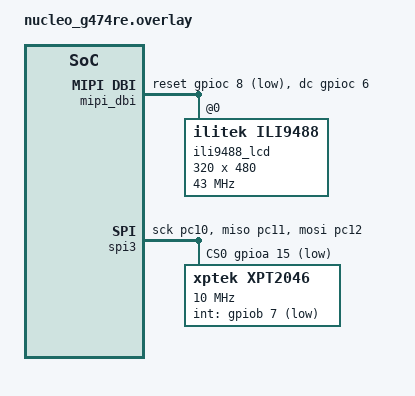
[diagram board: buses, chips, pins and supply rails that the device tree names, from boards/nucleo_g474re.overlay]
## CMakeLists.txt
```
cmake_minimum_required(VERSION 3.20.0)

# The HMI module is not listed in the west manifest (it is attached to the
# workspace as the modules/hmi symlink), so it has to be named explicitly.
# This path resolves to the HMI module root both on the host (zccli/app)
# and in the image (/workdir/apps/HMI/zccli/app), which is why it is
# relative rather than hard-coded.
set(ZEPHYR_EXTRA_MODULES ${CMAKE_CURRENT_SOURCE_DIR}/../..)

find_package(Zephyr REQUIRED HINTS $ENV{ZEPHYR_BASE})
project(zccli_app LANGUAGES C)

# Everything under src/ is compiled. src/zc_core.c is the frozen runtime;
# zccli copies your .c files into src/user/ before building.
#
# CONFIGURE_DEPENDS makes CMake re-run its glob on every build, so adding or
# removing a file does not need a hand-written source list or a -p always.
file(GLOB ZC_SOURCES CONFIGURE_DEPENDS
     ${CMAKE_CURRENT_SOURCE_DIR}/src/*.c
     ${CMAKE_CURRENT_SOURCE_DIR}/src/user/*.c)
target_sources(app PRIVATE ${ZC_SOURCES})

target_include_directories(app PRIVATE ${CMAKE_CURRENT_SOURCE_DIR}/include)
```

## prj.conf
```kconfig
# App-side settings the HMI library needs
CONFIG_MAIN_STACK_SIZE=8192

CONFIG_GPIO=y
CONFIG_SPI=y

# SPI1 LCD bus moves ~14 KB per flush; DMA frees the flush thread from
# byte-pumping so main can render while the transfer runs. DMA_STM32_V2
# and DMAMUX_STM32 enable themselves from the DT nodes in the overlay.
CONFIG_DMA=y
CONFIG_SPI_STM32_DMA=y

CONFIG_LOG=y

# Resistive touch (XPT2046 on SPI3, 'zephyr,touch' chosen) -> LVGL pointer
# Upstream xptek,xpt2046 driver (CONFIG_INPUT_XPT2046).
CONFIG_INPUT=y
CONFIG_INPUT_XPT2046=y
# The input module logs a "Timeout discarded" DBG line on EVERY syswq report,
# and with CONFIG_INPUT_LOG_LEVEL_DBG the resulting flood overflows the
# deferred log queue at 115200 baud (seen as "--- N messages dropped ---").
# Keep WRN so the "Event dropped, queue full" canary stays visible.
CONFIG_INPUT_LOG_LEVEL_WRN=y
# Input pipeline must never be starved, or the 16-slot event msgq fills and
# every touch is dropped before reaching LVGL ("Event dropped, queue full,
# not blocking in syswq"). Run the input thread at cooperative top priority
# (preempts the flush thread) and give it headroom for bursts/drags.
CONFIG_INPUT_THREAD_PRIORITY_OVERRIDE=y
CONFIG_INPUT_THREAD_PRIORITY=-1
CONFIG_INPUT_THREAD_STACK_SIZE=2048
CONFIG_INPUT_QUEUE_MAX_MSGS=64
CONFIG_LV_Z_POINTER_INPUT=y
CONFIG_LV_Z_POINTER_FROM_CHOSEN_TOUCH=y

# Display driver stack (ILI9488 over 4-wire MIPI DBI/SPI)
CONFIG_DISPLAY=y
CONFIG_DISPLAY_LOG_LEVEL_ERR=y

# LVGL, rendering natively in the panel's 18-bit RGB666 mode.
# The HMI module (CONFIG_HMI) selects the widgets and fonts it needs;
# the display-specific settings stay here.
CONFIG_LVGL=y
CONFIG_LV_COLOR_DEPTH_24=y
# VDB size in % of the 320x480 portrait framebuffer. Kept small so the
# (persistent) rendering buffer fits next to the widget set in the LVGL
# memory pool: 3% of 320*480 = 4608 px = 13824 bytes @ RGB888.
CONFIG_LV_Z_VDB_SIZE=3
# Double the draw buffer and flush in a dedicated thread so the next strip
# can be rendered while the previous one is still being pushed over SPI.
# Flush thread priority MUST stay below the input/sysworkq threads (-1), or
# a long synchronous flush starves XPT2046 sampling (the old touch freeze).
CONFIG_LV_Z_DOUBLE_VDB=y
CONFIG_LV_Z_FLUSH_THREAD=y
CONFIG_LV_Z_FLUSH_THREAD_PRIORITY=4
CONFIG_LV_Z_FLUSH_THREAD_STACK_SIZE=1024
# LVGL pool holds the object set + the rendering buffer for the app's
# lifetime (lv_malloc in lvgl.c).
CONFIG_LV_Z_MEM_POOL_SIZE=40000
CONFIG_LV_USE_LOG=y
CONFIG_LV_LOG_LEVEL_ERROR=y

# HMI library
CONFIG_HMI=y

# Flash is at 100%: trim LVGL down to just the widgets the HMI demo uses
# (ARC/ARCLABEL/BAR/BUTTON/BUTTONMATRIX/CHART/IMAGE/LABEL/LINE/SLIDER/
# TABVIEW + FLEX layout). LTO is unavailable here: GEN_ISR_TABLES forces
# CONFIG_LTO back to n on this board.
CONFIG_LV_USE_TABLE=n
CONFIG_LV_USE_TEXTAREA=n
CONFIG_LV_USE_ROLLER=n
CONFIG_LV_USE_SPINBOX=n
CONFIG_LV_USE_SPINNER=n
CONFIG_LV_USE_SWITCH=n
CONFIG_LV_USE_CHECKBOX=n
CONFIG_LV_USE_DROPDOWN=n
CONFIG_LV_USE_CALENDAR=n
CONFIG_LV_USE_KEYBOARD=n
CONFIG_LV_USE_MSGBOX=n
CONFIG_LV_USE_MENU=n
CONFIG_LV_USE_TILEVIEW=n
CONFIG_LV_USE_WIN=n
CONFIG_LV_USE_LIST=n
CONFIG_LV_USE_ANIMIMG=n
CONFIG_LV_USE_CANVAS=n
CONFIG_LV_USE_IMAGEBUTTON=n
CONFIG_LV_USE_SPAN=n
CONFIG_LV_USE_SCALE=n
CONFIG_LV_USE_LED=n
CONFIG_LV_USE_GIF=n

# add picolib float support
CONFIG_PICOLIBC_IO_FLOAT=y
```

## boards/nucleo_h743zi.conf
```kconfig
# The nucleo_h743zi's default zephyr,code-partition (MCUboot slot0) is only
# 256 KB. This app (~500 KB) links against the full 2 MB flash instead.
CONFIG_USE_DT_CODE_PARTITION=n
```

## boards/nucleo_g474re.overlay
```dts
/*
 * SPI1 is pre-configured in nucleo_g474re.dts on PA5/PA6/PA7 with
 * cs-gpios = PB6. The ILI9488 panel is driven through a zephyr,mipi-dbi-spi
 * controller on SPI1 with PC8=RESET, PC6=DC as GPIOs.
 *
 * Pin conflicts resolved here:
 *  - green LED on PA5                  -> leds/pwmleds/timers2 disabled (PA5 = SPI1 SCK)
 *  - console/shell on lpuart1 (PA2/PA3) -> ST-LINK VCP (/dev/ttyACM0); usart1 (PC4/PC5) disabled
 *  - spi2 (PB12-15) disabled, its pins are not used
 *  - spi3 (PC10-12) carries the XPT2046 resistive touch of the MSP3520:
 *      T_CLK=PC10(SCK) T_DIN=PC12(MOSI) T_DO=PC11(MISO)
 *      T_CS=PA15(GPIO CS, replaces the spi3 NSS alt-function)
 *      T_IRQ=PB7(GPIO, active-low pen-down edge IRQ)
 *
 * Board 3V3 and 5V header rails power the panel (backlight/VIN), no DT node.
 */

#include <zephyr/dt-bindings/display/panel.h>
#include <zephyr/dt-bindings/dma/stm32_dma.h>
#include <freq.h>

/ {
    chosen {
        zephyr,console = &lpuart1;
        zephyr,shell-uart = &lpuart1;
        zephyr,display = &ili9488_lcd;
        zephyr,touch = &xpt2046;
    };

    mipi_dbi: mipi_dbi {
        compatible = "zephyr,mipi-dbi-spi";
        spi-dev = <&spi1>;
        dc-gpios = <&gpioc 6 GPIO_ACTIVE_HIGH>;
        reset-gpios = <&gpioc 8 GPIO_ACTIVE_LOW>;
        #address-cells = <1>;
        #size-cells = <0>;
        status = "okay";

        ili9488_lcd: ili9488@0 {
            compatible = "ilitek,ili9488";
            reg = <0>;
            mipi-mode = "MIPI_DBI_MODE_SPI_4WIRE";
            /* 84 MHz = APB2/2, the SPI1 ceiling for this board's clock.
             * Tuned: 42.5/22 MHz glitch-free, 84 MHz clean on this wiring. */
            mipi-max-frequency = <DT_FREQ_M(43)>;
            /* Physical GRAM is 320x480; rotation 0 keeps the panel in its
             * native portrait orientation so the HMI demo matches the
             * 320x480 Linux simulator layout (MADCTL BGR only). */
            width = <320>;
            height = <480>;
            /* RGB_888: the ILI9488 is driven in its native 18-bit RGB666 mode
             * (COLMOD 0x66, 3 bytes/pixel), the only mode validated to render
             * correct colors on this panel through the 4-wire SPI path. */
            pixel-format = <PANEL_PIXEL_FORMAT_RGB_888>;
            rotation = <180>;
            /* LCDWIKI MSP3520 initsq16 register table. */
            frmctr1 = [b0 11];
            disctrl = [02 22 3b];
            pwctrl1 = [11 09];
            pwctrl2 = [41];
            vmctrl = [00 0a 80 40];
            pgamctrl = [00 07 10 09 17 0b 41 89 4b 0a 0c 0e 18 1b 0f];
            ngamctrl = [00 17 1a 04 0e 06 2f 45 43 02 0a 09 32 36 0f];
            status = "okay";
        };
    };
};

&leds {
    status = "disabled";
};

&usart1 {
    status = "disabled";
};

/ {
    pwmleds {
        status = "disabled";
    };
};

&timers2 {
    status = "disabled";
};

&spi2 {
    status = "disabled";
};

&spi3 {
	/* PA15 becomes a GPIO chip-select for the touch controller instead
	 * of the spi3 NSS alternate function. */
	pinctrl-0 = <&spi3_sck_pc10 &spi3_miso_pc11 &spi3_mosi_pc12>;
	pinctrl-names = "default";
	cs-gpios = <&gpioa 15 GPIO_ACTIVE_LOW>;

	/* Upstream Zephyr xptek,xpt2046 (interleaved Z/X/Y read + cal). */
	xpt2046: xpt2046@0 {
		compatible = "xptek,xpt2046";
		reg = <0>;
		spi-max-frequency = <DT_FREQ_M(10)>;
		int-gpios = <&gpiob 7 GPIO_ACTIVE_LOW>;

		/* Calibrated so a tap on the Gauges tab (top-left) lands on
		 * LVGL (0,0). Measured Gauges-tab tap: raw (3907, 683) =>
		 * that corner maps to the X maximum and Y minimum. The touch
		 * axes land X-increasing left-to-right and Y-increasing
		 * downward on the panel; min-x comes from the rightmost tab
		 * (raw ~416 in a tab-row sweep), max-y stays a placeholder
		 * until a bottom-corner tap is measured. Driver maps
		 * min/max raw -> 0..touchscreen-size-*, then touchscreen-common
		 * scales into the ili9488 320x480 panel; screen-width/height
		 * must match that span or scaling is skipped. */
		min-x = <1300>;
		max-x = <4095>;
		min-y = <683>;
		max-y = <3800>;
		touchscreen-size-x = <4096>;
		touchscreen-size-y = <4096>;
		z-threshold = <100>;
		reads = <4>;

		/* Invert Y so LVGL y=0 is the raw-y-minimum edge (the Gauges
		 * tab). If the first bottom-corner tap lands mirror-inverted,
		 * flip this to max-y = <683> with no inverted-y instead. */
		inverted-y;

		screen-width = <4096>;
		screen-height = <4096>;
		display = <&ili9488_lcd>;
	};
};

&dma1 {
	status = "okay";
	/* G4 DMA1 has 8 channels; CH1..CH8 = IRQ 11..17, 96. The
	 * interrupts property is missing from stm32g4.dtsi but required
	 * by st,stm32-dma (without it the dma1 node can't be enabled). */
	interrupts = <11 0>, <12 0>, <13 0>, <14 0>, <15 0>, <16 0>, <17 0>, <96 0>;
};

&dmamux1 {
	status = "okay";
};

&spi1 {
	/* dmamux1 ch0/ch1 route to DMA1 streams 1/2 (dma-offset 0).
	 * G4 DMAMUX request IDs: SPI1_RX = 10, SPI1_TX = 11. */
	dmas = <&dmamux1 1 11 (STM32_DMA_PERIPH_TX | STM32_DMA_PERIPH_8BITS |
			       STM32_DMA_MEM_8BITS | STM32_DMA_PRIORITY_HIGH)>,
	       <&dmamux1 0 10 (STM32_DMA_PERIPH_RX | STM32_DMA_PERIPH_8BITS |
			       STM32_DMA_MEM_8BITS | STM32_DMA_PRIORITY_HIGH)>;
	dma-names = "tx", "rx";
};
```

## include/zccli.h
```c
/*
 * SPDX-License-Identifier: Apache-2.0
 *
 * zccli public contract.
 *
 * This header plus <lvgl.h> and <hmi/hmi.h> is everything you need.
 * There is no setup, no build system and no RTOS code to write.
 *
 * Your application provides any or all of:
 *
 *   void zc_user_init(lv_obj_t *root)  -- build your screen here
 *   int  main(void)                    -- optional, takes over startup
 *
 * Both are weak symbols in the runtime, so whatever you define wins.
 * Define neither and you get a placeholder screen that tells you so.
 */
#pragma once

#include <lvgl.h>

/* Called once with the active screen, after the display is up. */
void zc_user_init(lv_obj_t *root);
```

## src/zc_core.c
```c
/*
 * SPDX-License-Identifier: Apache-2.0
 *
 * zccli frozen runtime. Do not edit -- this file is owned by the zccli
 * image and is copied back on every build.
 *
 * It exists so that a user application never has to know that there is a
 * Zephyr kernel, a display driver stack or a board underneath. The display
 * is brought up here, then zc_user_init() gets the active screen to draw
 * on, then hmi_show() runs the LVGL loop forever.
 *
 * Both symbols below are deliberately weak, so a user file can override
 * either one without touching this file.
 */
#include <lvgl.h>

#include <hmi/hmi.h>

#include "zccli.h"

/* Placeholder: shown when the user's file did not define zc_user_init().
 * A silently blank screen would be a confusing first experience, so the
 * missing function gets stated on the panel instead.
 */
__attribute__((weak)) void zc_user_init(lv_obj_t *root)
{
	lv_obj_t *lbl = lv_label_create(root);

	lv_label_set_text(lbl,
			  "zccli\n\n"
			  "This screen is empty because your\n"
			  "file does not define:\n\n"
			  "  void zc_user_init(lv_obj_t *root)\n\n"
			  "Put your UI code in there.");
	lv_obj_set_style_text_align(lbl, LV_TEXT_ALIGN_CENTER, 0);
	lv_obj_set_style_text_color(lbl, lv_color_hex(0x00E5FF), 0);
	lv_obj_set_style_text_font(lbl, &lv_font_montserrat_18, 0);
	lv_obj_align(lbl, LV_ALIGN_CENTER, 0, 0);
}

__attribute__((weak)) int main(void)
{
	if (hmi_init() < 0) {
		return -1;
	}

	zc_user_init(lv_screen_active());

	hmi_show();

	return 0; /* unreachable: hmi_show() loops forever */
}
```
